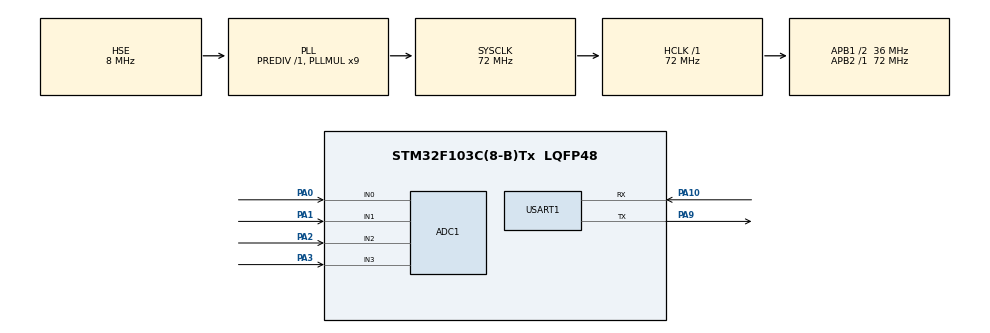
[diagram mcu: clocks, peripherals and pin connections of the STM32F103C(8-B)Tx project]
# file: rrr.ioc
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ADC1.Channel-0\#ChannelRegularConversion=ADC_CHANNEL_0
ADC1.Channel-1\#ChannelRegularConversion=ADC_CHANNEL_1
ADC1.Channel-2\#ChannelRegularConversion=ADC_CHANNEL_2
ADC1.Channel-3\#ChannelRegularConversion=ADC_CHANNEL_3
ADC1.ContinuousConvMode=ENABLE
ADC1.NbrOfConversion=4
ADC1.NbrOfConversionFlag=1
ADC1.Rank-0\#ChannelRegularConversion=1
ADC1.Rank-1\#ChannelRegularConversion=2
ADC1.Rank-2\#ChannelRegularConversion=3
ADC1.Rank-3\#ChannelRegularConversion=4
ADC1.SamplingTime-0\#ChannelRegularConversion=ADC_SAMPLETIME_13CYCLES_5
ADC1.SamplingTime-1\#ChannelRegularConversion=ADC_SAMPLETIME_13CYCLES_5
ADC1.SamplingTime-2\#ChannelRegularConversion=ADC_SAMPLETIME_13CYCLES_5
ADC1.SamplingTime-3\#ChannelRegularConversion=ADC_SAMPLETIME_13CYCLES_5
ADC1.master=1
Dma.ADC1.0.Direction=DMA_PERIPH_TO_MEMORY
Dma.ADC1.0.Instance=DMA1_Channel1
Dma.ADC1.0.MemDataAlignment=DMA_MDATAALIGN_WORD
Dma.ADC1.0.MemInc=DMA_MINC_ENABLE
Dma.ADC1.0.Mode=DMA_CIRCULAR
Dma.ADC1.0.PeriphDataAlignment=DMA_PDATAALIGN_WORD
Dma.ADC1.0.PeriphInc=DMA_PINC_DISABLE
Dma.ADC1.0.Priority=DMA_PRIORITY_HIGH
Dma.Request0=ADC1
Mcu.Family=STM32F1
Mcu.Name=STM32F103C(8-B)Tx
Mcu.Package=LQFP48
NVIC.ADC1_2_IRQn=true\:0\:0\:false\:false\:true\:true\:true\:true
NVIC.DMA1_Channel1_IRQn=true\:0\:0\:false\:false\:true\:false\:true\:true
NVIC.PriorityGroup=NVIC_PRIORITYGROUP_4
NVIC.RCC_IRQn=true\:0\:0\:false\:false\:true\:true\:false\:true
PA0-WKUP.Signal=ADCx_IN0
PA1.Signal=ADCx_IN1
PA10.Mode=Asynchronous
PA10.Signal=USART1_RX
PA2.Signal=ADCx_IN2
PA3.Signal=ADCx_IN3
PA9.Mode=Asynchronous
PA9.Signal=USART1_TX
PD0-OSC_IN.Mode=HSE-External-Oscillator
PD0-OSC_IN.Signal=RCC_OSC_IN
PD1-OSC_OUT.Mode=HSE-External-Oscillator
PD1-OSC_OUT.Signal=RCC_OSC_OUT
ProjectManager.HeapSize=0x200
ProjectManager.StackSize=0x400
ProjectManager.TargetToolchain=MDK-ARM V5.32
RCC.ADCPresc=RCC_ADCPCLK2_DIV6
RCC.AHBFreq_Value=72000000
RCC.APB1CLKDivider=RCC_HCLK_DIV2
RCC.APB1Freq_Value=36000000
RCC.APB1TimFreq_Value=72000000
RCC.APB2Freq_Value=72000000
RCC.APB2TimFreq_Value=72000000
RCC.HCLKFreq_Value=72000000
RCC.PLLMUL=RCC_PLL_MUL9
RCC.PLLSourceVirtual=RCC_PLLSOURCE_HSE
RCC.SYSCLKFreq_VALUE=72000000
RCC.SYSCLKSource=RCC_SYSCLKSOURCE_PLLCLK
RCC.USBFreq_Value=72000000
SH.ADCx_IN0.0=ADC1_IN0,IN0
SH.ADCx_IN1.0=ADC1_IN1,IN1
SH.ADCx_IN2.0=ADC1_IN2,IN2
SH.ADCx_IN3.0=ADC1_IN3,IN3
USART1.VirtualMode=VM_ASYNC
VP_SYS_VS_ND.Mode=No_Debug
board=custom

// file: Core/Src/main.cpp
/* USER CODE BEGIN Header */
/**
  ******************************************************************************
  * @file           : main.c
  * @brief          : Main program body
  ******************************************************************************
  * @attention
  *
  * Copyright (c) 2022 STMicroelectronics.
  * All rights reserved.
  *
  * This software is licensed under terms that can be found in the LICENSE file
  * in the root directory of this software component.
  * If no LICENSE file comes with this software, it is provided AS-IS.
  *
  ******************************************************************************
  */
/* USER CODE END Header */
#include "main.h"

/* USER CODE BEGIN Includes */
#include <cstdio>
#include <algorithm>
/* USER CODE END Includes */

ADC_HandleTypeDef hadc1;
DMA_HandleTypeDef hdma_adc1;

UART_HandleTypeDef huart1;

void SystemClock_Config(void);
static void MX_GPIO_Init(void);
static void MX_DMA_Init(void);
static void MX_ADC1_Init(void);
static void MX_USART1_UART_Init(void);

/* USER CODE BEGIN 0 */
int std::fputc(int ch, FILE *f)
{

 HAL_UART_Transmit(&huart1,(uint8_t *)&ch,1,0xFFFF);
 return ch;
}
auto swap(uint32_t s,double a)
{
	a=0.0;
	return s;
}
/* USER CODE END 0 */

class Box
{
   public:
      double length;   // 长度
      double breadth;  // 宽度
      double height;   // 高度
      // 成员函数声明
      double get(void);
      void set( double len, double bre, double hei );
			~Box();
};
class Box_Step: public Box
{
	public:
		double mu(int a)
		{
			return get()*a;
		}
};
// 成员函数定义
double Box::get(void)
{
    return length * breadth * height;
}

void Box::set( double len, double bre, double hei)
{
    length = len;
    breadth = bre;
    height = hei;
}
 Box::~Box()
{
		__nop();
		length=0;
		breadth=0;
		height=0;
}
int main()
{
  /* USER CODE BEGIN 1 */

	uint32_t Adc_Str[4];
	float vi;
	char v[500];
	double s;
	Box box2;
	Box_Step box3;
	box3.set(1,2,3);
	box3.get();
	s=box3.mu(3);
	RCC_Delay(1);
	box2.set(1.0,2.2,3.0);
	box2.~Box();
	Adc_Str[0]=HAL_GetHalVersion();
  /* USER CODE END 1 */

  /* MCU Configuration--------------------------------------------------------*/

  /* Reset of all peripherals, Initializes the Flash interface and the Systick. */
  HAL_Init();

  /* Configure the system clock */
  SystemClock_Config();
	const char *c =typeid(Error_Handler).name();

  /* Initialize all configured peripherals */
  MX_GPIO_Init();
  MX_DMA_Init();
  MX_ADC1_Init();
  MX_USART1_UART_Init();
  /* USER CODE BEGIN 2 */
	HAL_ADC_Start_DMA(&hadc1,Adc_Str,4);
	sprintf(v,"%s\n",c);
	HAL_UART_Transmit(&huart1,(uint8_t  *)v,500,0xF);
	int iss=100;
	do
	{
		iss++;
	}while(iss>100);
	__NOP();
  /* USER CODE END 2 */

  /* Infinite loop */
  while (1)
  {

    /* USER CODE BEGIN 3 */
		for(int i=0;i<4;i++)
		{
			vi=i[Adc_Str]*3.3/4096;
		}
  }

	HAL_Delay(100);
  /* USER CODE END 3 */
}

void SystemClock_Config(void)
{
  RCC_OscInitTypeDef RCC_OscInitStruct = {0};
  RCC_ClkInitTypeDef RCC_ClkInitStruct = {0};
  RCC_PeriphCLKInitTypeDef PeriphClkInit = {0};

  /** Initializes the RCC Oscillators according to the specified parameters
  * in the RCC_OscInitTypeDef structure.
  */
  RCC_OscInitStruct.OscillatorType = RCC_OSCILLATORTYPE_HSE;
  RCC_OscInitStruct.HSEState = RCC_HSE_ON;
  RCC_OscInitStruct.HSEPredivValue = RCC_HSE_PREDIV_DIV1;
  RCC_OscInitStruct.HSIState = RCC_HSI_ON;
  RCC_OscInitStruct.PLL.PLLState = RCC_PLL_ON;
  RCC_OscInitStruct.PLL.PLLSource = RCC_PLLSOURCE_HSE;
  RCC_OscInitStruct.PLL.PLLMUL = RCC_PLL_MUL9;
  if (HAL_RCC_OscConfig(&RCC_OscInitStruct) != HAL_OK)
  {
    Error_Handler();
  }

  /** Initializes the CPU, AHB and APB buses clocks
  */
  RCC_ClkInitStruct.ClockType = RCC_CLOCKTYPE_HCLK|RCC_CLOCKTYPE_SYSCLK
                              |RCC_CLOCKTYPE_PCLK1|RCC_CLOCKTYPE_PCLK2;
  RCC_ClkInitStruct.SYSCLKSource = RCC_SYSCLKSOURCE_PLLCLK;
  RCC_ClkInitStruct.AHBCLKDivider = RCC_SYSCLK_DIV1;
  RCC_ClkInitStruct.APB1CLKDivider = RCC_HCLK_DIV2;
  RCC_ClkInitStruct.APB2CLKDivider = RCC_HCLK_DIV1;

  if (HAL_RCC_ClockConfig(&RCC_ClkInitStruct, FLASH_LATENCY_2) != HAL_OK)
  {
    Error_Handler();
  }
  PeriphClkInit.PeriphClockSelection = RCC_PERIPHCLK_ADC;
  PeriphClkInit.AdcClockSelection = RCC_ADCPCLK2_DIV6;
  if (HAL_RCCEx_PeriphCLKConfig(&PeriphClkInit) != HAL_OK)
  {
    Error_Handler();
  }
}

static void MX_ADC1_Init(void)
{

  ADC_ChannelConfTypeDef sConfig = {0};

  /** Common config
  */
  hadc1.Instance = ADC1;
  hadc1.Init.ScanConvMode = ADC_SCAN_ENABLE;
  hadc1.Init.ContinuousConvMode = ENABLE;
  hadc1.Init.DiscontinuousConvMode = DISABLE;
  hadc1.Init.ExternalTrigConv = ADC_SOFTWARE_START;
  hadc1.Init.DataAlign = ADC_DATAALIGN_RIGHT;
  hadc1.Init.NbrOfConversion = 4;
  if (HAL_ADC_Init(&hadc1) != HAL_OK)
  {
    Error_Handler();
  }

  /** Configure Regular Channel
  */
  sConfig.Channel = ADC_CHANNEL_0;
  sConfig.Rank = ADC_REGULAR_RANK_1;
  sConfig.SamplingTime = ADC_SAMPLETIME_13CYCLES_5;
  if (HAL_ADC_ConfigChannel(&hadc1, &sConfig) != HAL_OK)
  {
    Error_Handler();
  }

  /** Configure Regular Channel
  */
  sConfig.Channel = ADC_CHANNEL_1;
  sConfig.Rank = ADC_REGULAR_RANK_2;
  if (HAL_ADC_ConfigChannel(&hadc1, &sConfig) != HAL_OK)
  {
    Error_Handler();
  }

  /** Configure Regular Channel
  */
  sConfig.Channel = ADC_CHANNEL_2;
  sConfig.Rank = ADC_REGULAR_RANK_3;
  if (HAL_ADC_ConfigChannel(&hadc1, &sConfig) != HAL_OK)
  {
    Error_Handler();
  }

  /** Configure Regular Channel
  */
  sConfig.Channel = ADC_CHANNEL_3;
  sConfig.Rank = ADC_REGULAR_RANK_4;
  if (HAL_ADC_ConfigChannel(&hadc1, &sConfig) != HAL_OK)
  {
    Error_Handler();
  }

}

static void MX_USART1_UART_Init(void)
{

  huart1.Instance = USART1;
  huart1.Init.BaudRate = 115200;
  huart1.Init.WordLength = UART_WORDLENGTH_8B;
  huart1.Init.StopBits = UART_STOPBITS_1;
  huart1.Init.Parity = UART_PARITY_NONE;
  huart1.Init.Mode = UART_MODE_TX_RX;
  huart1.Init.HwFlowCtl = UART_HWCONTROL_NONE;
  huart1.Init.OverSampling = UART_OVERSAMPLING_16;
  if (HAL_UART_Init(&huart1) != HAL_OK)
  {
    Error_Handler();
  }

}

static void MX_DMA_Init(void)
{

  /* DMA controller clock enable */
  __HAL_RCC_DMA1_CLK_ENABLE();

  /* DMA interrupt init */
  /* DMA1_Channel1_IRQn interrupt configuration */
  HAL_NVIC_SetPriority(DMA1_Channel1_IRQn, 0, 0);
  HAL_NVIC_EnableIRQ(DMA1_Channel1_IRQn);

}

static void MX_GPIO_Init(void)
{

  /* GPIO Ports Clock Enable */
  __HAL_RCC_GPIOD_CLK_ENABLE();
  __HAL_RCC_GPIOA_CLK_ENABLE();

}

void Error_Handler(void)
{
  __disable_irq();
  while (1)
  {
  }
}
